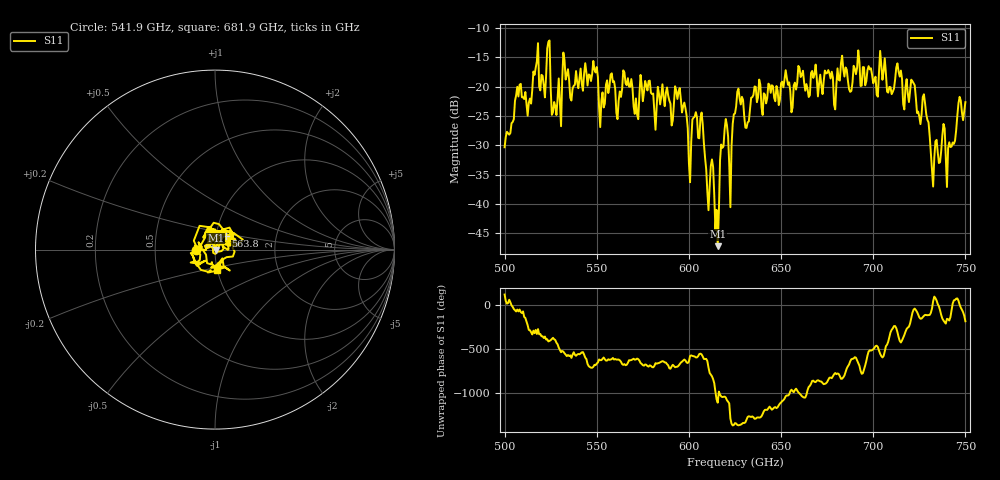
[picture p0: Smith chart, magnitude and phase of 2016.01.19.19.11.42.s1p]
!Created with skrf (http://scikit-rf.org).
# GHz S RI R 50.0
!freq ReS11 ImS11
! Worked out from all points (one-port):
!   401 points, 500 GHz to 750 GHz, reference 50 ohm
!   lowest |S11| = -47.2 dB at 615.6 GHz (marker M1), VSWR 1.01, Z = 50.4 - j0.177 ohm
!   |S11| at or under -10 dB: start of sweep to end of sweep
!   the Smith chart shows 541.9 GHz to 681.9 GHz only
!   S11 on the Smith chart (normalised r, x): 541.9 GHz: 0.81, -0.01; 563.8 GHz: 1.11, +0.17; 681.9 GHz: 0.99, -0.23
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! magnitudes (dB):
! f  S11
! 500 GHz  -30.3
! 507.5 GHz  -21.7
! 513.8 GHz  -22.1
! 516.9 GHz  -16.8
! 520.6 GHz  -18.2
! 523.8 GHz  -12.4
! 526.9 GHz  -22.6
! 531.2 GHz  -18.8
! 541.9 GHz  -19.5
! 562.5 GHz  -20.8
! 563.8 GHz  -20.5
! 571.2 GHz  -22.0
! 593.8 GHz  -22.1
! 600 GHz  -33.0
! 606.9 GHz  -24.4
! 610 GHz  -37.9
! 615.6 GHz  -47.2
! 618.8 GHz  -30.2
! 622.5 GHz  -40.5
! 625 GHz  -24.6
! 656.2 GHz  -23.5
! 681.9 GHz  -19.0
! 687.5 GHz  -20.9
! 705 GHz  -18.9
! 718.8 GHz  -21.2
! 728.1 GHz  -22.9
! 732.5 GHz  -37.0
! 750 GHz  -22.7
